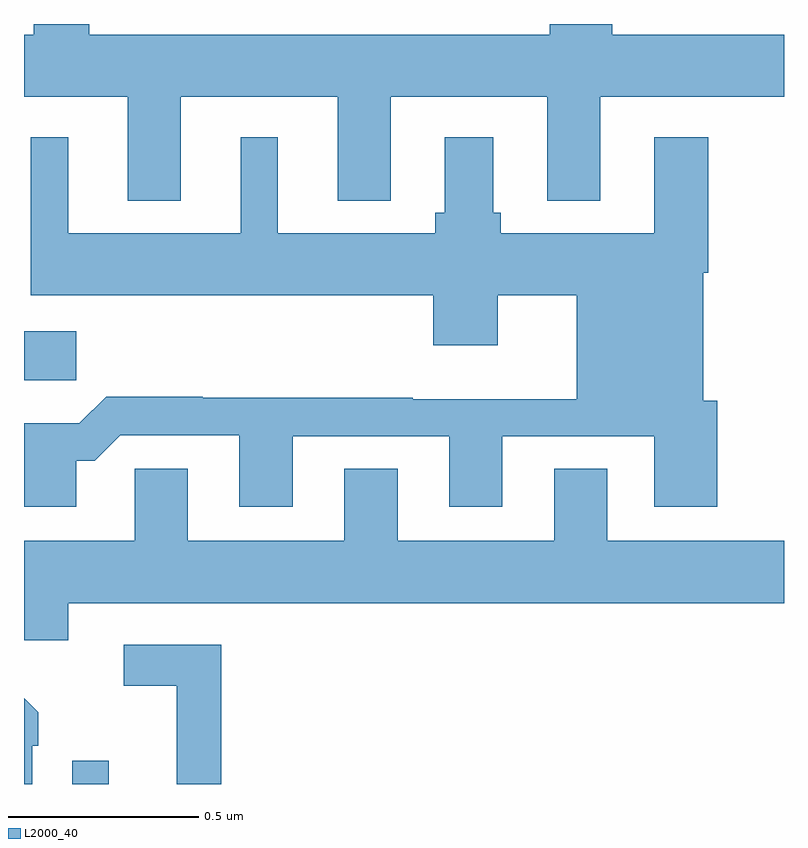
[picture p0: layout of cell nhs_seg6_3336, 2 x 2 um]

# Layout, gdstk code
import gdstk
lib = gdstk.Library(unit=1e-6, precision=1e-09)
def R(c, l, rs):  # rectangles x0, y0, x1, y1
    for r in rs: c.add(gdstk.rectangle(r[:2], r[2:], *l))
def P(c, l, *ps):  # polygons
    for p in ps: c.add(gdstk.Polygon(p, *l))
L2000_40 = (2000, 40)

nhs_seg6_3336 = lib.new_cell('nhs_seg6_3336')
R(nhs_seg6_3336, L2000_40, [(155.127,973.5,155.223,973.561), (155,974.563,155.137,974.692)])
P(nhs_seg6_3336, L2000_40, [(155.413,975.308),(155.825,975.308),(155.825,975.035),(155.965,975.035),(155.965,975.308),(156.377,975.308),(156.377,975.035),(156.517,975.035),(156.517,975.308),(157,975.308),(157,975.472),(156.548,975.472),(156.548,975.5),(156.383,975.5),(156.383,975.472),(155.172,975.472),(155.172,975.5),(155.026,975.5),(155.026,975.472),(155,975.472),(155,975.308),(155.273,975.308),(155.273,975.035),(155.413,975.035)],
  [(155.137,974.351),(155.186,974.351),(155.253,974.418),(155.567,974.418),(155.567,974.229),(155.707,974.229),(155.707,974.415),(156.119,974.415),(156.119,974.229),(156.259,974.229),(156.259,974.415),(156.659,974.415),(156.659,974.229),(156.824,974.229),(156.824,974.508),(156.787,974.508),(156.787,974.846),(156.8,974.846),(156.8,975.202),(156.659,975.202),(156.659,974.95),(156.255,974.95),(156.255,975.003),(156.235,975.003),(156.235,975.202),(156.107,975.202),(156.107,975.003),(156.082,975.003),(156.082,974.95),(155.668,974.95),(155.668,975.202),(155.57,975.202),(155.57,974.95),(155.116,974.95),(155.116,975.202),(155.018,975.202),(155.018,974.786),(156.077,974.786),(156.077,974.655),(156.247,974.655),(156.247,974.786),(156.455,974.786),(156.455,974.512),(156.023,974.512),(156.023,974.516),(155.471,974.516),(155.471,974.519),(155.216,974.519),(155.146,974.449),(155,974.449),(155,974.229),(155.137,974.229)],
  [(155.116,973.976),(157,973.976),(157,974.14),(156.535,974.14),(156.535,974.33),(156.395,974.33),(156.395,974.14),(155.983,974.14),(155.983,974.33),(155.843,974.33),(155.843,974.14),(155.431,974.14),(155.431,974.33),(155.292,974.33),(155.292,974.14),(155,974.14),(155,973.878),(155.116,973.878)],
  [(155.519,973.866),(155.262,973.866),(155.262,973.758),(155.402,973.758),(155.402,973.5),(155.519,973.5)],
  [(155.022,973.601),(155.037,973.601),(155.037,973.689),(155,973.726),(155,973.5),(155.022,973.5)])

lib.write_gds('nhs_seg6_3336.gds')
